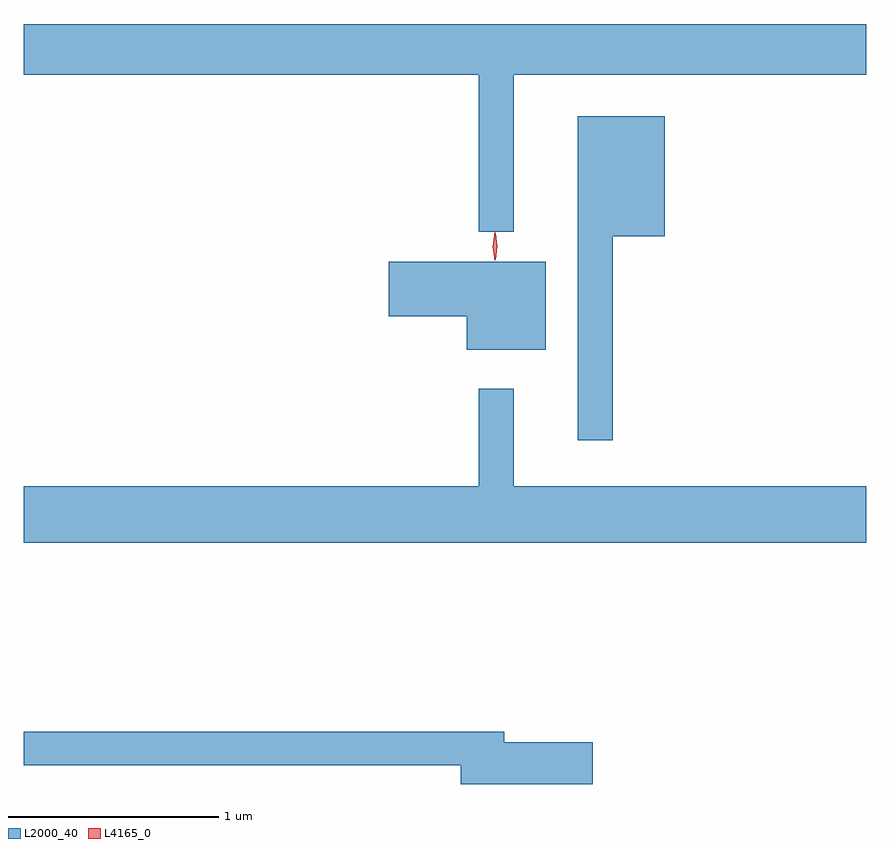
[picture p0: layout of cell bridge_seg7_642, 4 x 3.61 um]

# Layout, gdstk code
import gdstk
lib = gdstk.Library(unit=1e-6, precision=1e-09)
def P(c, l, *ps):  # polygons
    for p in ps: c.add(gdstk.Polygon(p, *l))
L2000_40 = (2000, 40)
L4165_0 = (4165, 0)

bridge_seg7_642 = lib.new_cell('bridge_seg7_642')
P(bridge_seg7_642, L2000_40, [(897.799,1727.636),(899.472,1727.636),(899.472,1727.878),(895.472,1727.878),(895.472,1727.636),(897.631,1727.636),(897.631,1726.893),(897.799,1726.893)],
  [(898.269,1726.871),(898.514,1726.871),(898.514,1727.439),(898.101,1727.439),(898.101,1725.903),(898.269,1725.903)],
  [(897.949,1726.749),(897.206,1726.749),(897.206,1726.491),(897.576,1726.491),(897.576,1726.331),(897.949,1726.331)],
  [(899.472,1725.684),(897.799,1725.684),(897.799,1726.148),(897.631,1726.148),(897.631,1725.684),(895.472,1725.684),(895.472,1725.416),(899.472,1725.416)],
  [(898.174,1724.469),(897.754,1724.469),(897.754,1724.519),(895.472,1724.519),(895.472,1724.361),(897.546,1724.361),(897.546,1724.271),(898.174,1724.271)])
P(bridge_seg7_642, L4165_0, [(897.707,1726.754),(897.698,1726.822),(897.707,1726.89),(897.708,1726.89),(897.708,1726.89),(897.718,1726.822),(897.708,1726.754),(897.708,1726.754)],
  [(897.711,1726.76),(897.711,1726.76),(897.701,1726.823),(897.711,1726.886),(897.711,1726.887),(897.712,1726.886),(897.721,1726.823),(897.712,1726.76)])

lib.write_gds('bridge_seg7_642.gds')
